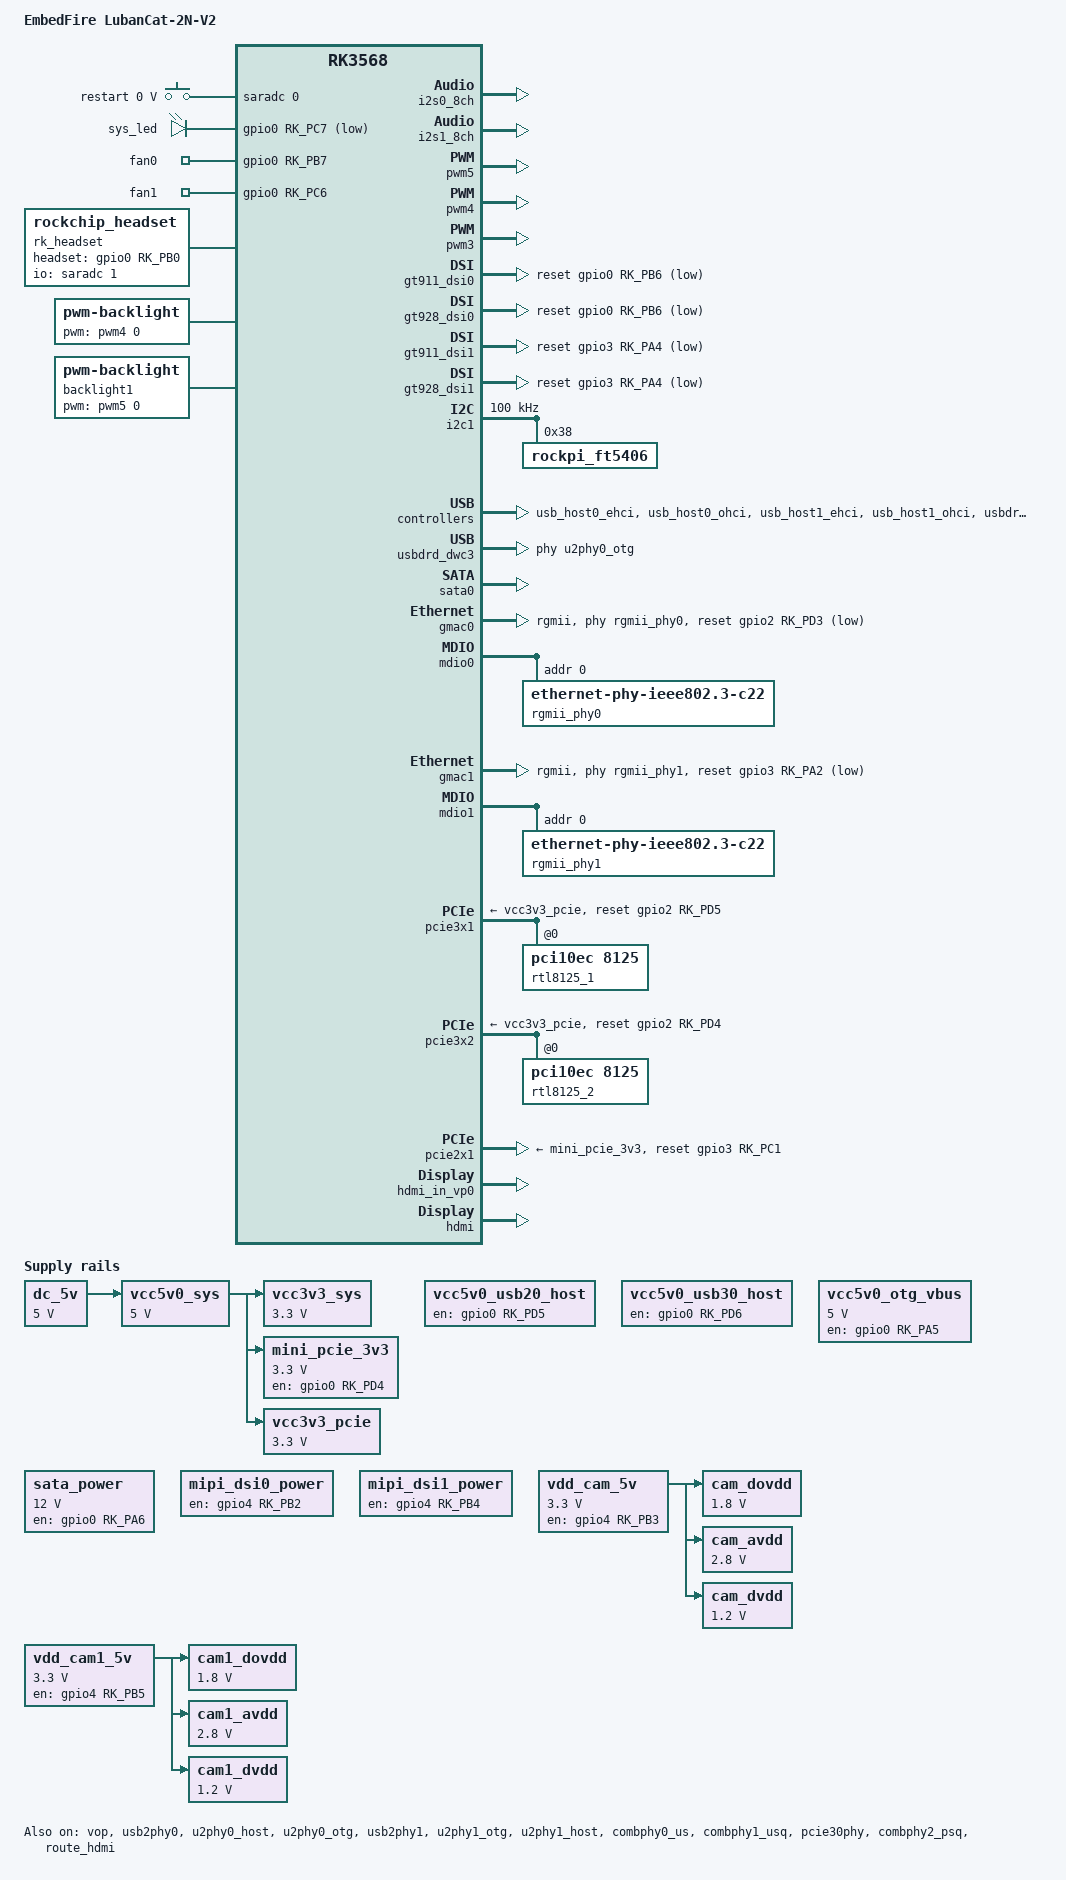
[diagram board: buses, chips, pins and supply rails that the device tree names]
// SPDX-License-Identifier: (GPL-2.0+ OR MIT)
/*
 * Copyright (c) 2020 Rockchip Electronics Co., Ltd.
 *
 */

 /dts-v1/;

#include <dt-bindings/gpio/gpio.h>
#include <dt-bindings/pwm/pwm.h>
#include <dt-bindings/pinctrl/rockchip.h>
#include <dt-bindings/input/rk-input.h>
#include <dt-bindings/display/drm_mipi_dsi.h>
#include <dt-bindings/display/rockchip_vop.h>
#include <dt-bindings/sensor-dev.h>
#include <dt-bindings/phy/jlsemi-dt-phy.h>
#include "rk3568.dtsi"
#include "rk3568-lubancat.dtsi"

#include "rk3568-lubancat-dsi.dtsi"

#include "rk3568-lubancat-csi2-double.dtsi"

/ {
	model = "EmbedFire LubanCat-2N-V2";
	compatible = "embedfire,lubancat-2n-v2", "rockchip,rk3568";

	aliases {
		ethernet0 = &gmac0;
		ethernet1 = &gmac1;
		ethernet2 = &rtl8125_2;
		ethernet3 = &rtl8125_1;
	};

	adc_keys: adc-keys {
		compatible = "adc-keys";
		io-channels = <&saradc 0>;
		io-channel-names = "buttons";
		keyup-threshold-microvolt = <1800000>;
		poll-interval = <100>;

		restart-key {
			label = "restart";
			linux,code = <KEY_RESTART>;
			press-threshold-microvolt = <9>;
		};
	};

	dc_5v: dc-5v {
		compatible = "regulator-fixed";
		regulator-name = "dc_5v";
		regulator-always-on;
		regulator-boot-on;
		regulator-min-microvolt = <5000000>;
		regulator-max-microvolt = <5000000>;
	};

	vcc5v0_sys: vcc5v0-sys {
		compatible = "regulator-fixed";
		regulator-name = "vcc5v0_sys";
		regulator-always-on;
		regulator-boot-on;
		regulator-min-microvolt = <5000000>;
		regulator-max-microvolt = <5000000>;
		vin-supply = <&dc_5v>;
	};

	vcc3v3_sys: vcc3v3-sys {
		compatible = "regulator-fixed";
		regulator-name = "vcc3v3_sys";
		regulator-always-on;
		regulator-boot-on;
		regulator-min-microvolt = <3300000>;
		regulator-max-microvolt = <3300000>;
		vin-supply = <&vcc5v0_sys>;
	};

	vcc5v0_usb20_host: vcc5v0-usb20-host-regulator {
		compatible = "regulator-fixed";
		enable-active-high;
		gpio = <&gpio0 RK_PD5 GPIO_ACTIVE_HIGH>;
		pinctrl-names = "default";
		pinctrl-0 = <&vcc5v0_usb20_host_en>;
		regulator-name = "vcc5v0_usb20_host";
		regulator-always-on;
	};

	vcc5v0_usb30_host: vcc5v0-usb30-host-regulator {
		compatible = "regulator-fixed";
		enable-active-high;
		gpio = <&gpio0 RK_PD6 GPIO_ACTIVE_HIGH>;
		pinctrl-names = "default";
		pinctrl-0 = <&vcc5v0_usb30_host_en>;
		regulator-name = "vcc5v0_usb30_host";
		regulator-always-on;
	};

	vcc5v0_otg_vbus: vcc5v0-otg-vbus-regulator {
		compatible = "regulator-fixed";
		enable-active-high;
		regulator-min-microvolt = <5000000>;
		regulator-max-microvolt = <5000000>;
		gpio = <&gpio0 RK_PA5 GPIO_ACTIVE_HIGH>;
		pinctrl-names = "default";
		pinctrl-0 = <&vcc5v0_otg_vbus_en>;
		regulator-name = "vcc5v0_otg_vbus";
	};

	mini_pcie_3v3: mini-pcie-3v3-regulator {
		compatible = "regulator-fixed";
		regulator-name = "minipcie_3v3";
		regulator-min-microvolt = <3300000>;
		regulator-max-microvolt = <3300000>;
		enable-active-high;
		regulator-always-on;
		gpio = <&gpio0 RK_PD4 GPIO_ACTIVE_HIGH>;
		startup-delay-us = <5000>;
		vin-supply = <&vcc5v0_sys>;
	};

	vcc3v3_pcie: gpio-regulator {
		compatible = "regulator-fixed";
		regulator-always-on;
		regulator-boot-on;
		regulator-min-microvolt = <3300000>;
		regulator-max-microvolt = <3300000>;
		regulator-name = "vcc3v3_pcie";
		vin-supply = <&vcc5v0_sys>;
	};

	sata_power: sata-power-regulator {
		compatible = "regulator-fixed";
		regulator-name = "sata_power";
		regulator-min-microvolt = <12000000>;
		regulator-max-microvolt = <12000000>;
		gpio = <&gpio0 RK_PA6 GPIO_ACTIVE_HIGH>;
		enable-active-high;
		regulator-boot-on;
		pinctrl-names = "default";
		pinctrl-0 = <&sata_pwr_en>;
	};

	mipi_dsi0_power: mipi-dsi0-power-regulator {
		compatible = "regulator-fixed";
		enable-active-high;
		gpio = <&gpio4 RK_PB2 GPIO_ACTIVE_HIGH>;
		pinctrl-names = "default";
		pinctrl-0 = <&mipi_dsi0_pwr_en>;
		regulator-name = "mipi_dsi0_power";
		regulator-always-on;
	};

	mipi_dsi1_power: mipi-dsi1-power-regulator {
		compatible = "regulator-fixed";
		enable-active-high;
		gpio = <&gpio4 RK_PB4 GPIO_ACTIVE_HIGH>;
		pinctrl-names = "default";
		pinctrl-0 = <&mipi_dsi1_pwr_en>;
		regulator-name = "mipi_dsi1_power";
		regulator-always-on;
	};

	vdd_cam_5v: vdd-cam-5v-regulator {
		compatible = "regulator-fixed";
		regulator-name = "vdd_cam_5v";
		regulator-min-microvolt = <3300000>;
		regulator-max-microvolt = <3300000>;
		gpio = <&gpio4 RK_PB3 GPIO_ACTIVE_HIGH>;
		pinctrl-names = "default";
		pinctrl-0 = <&cam_pwr_en>;
		enable-active-high;
		regulator-always-on;
	};

	cam_dovdd: cam-dovdd {
		compatible = "regulator-fixed";
		regulator-name = "cam_dovdd";
		regulator-always-on;
		regulator-boot-on;
		regulator-min-microvolt = <1800000>;
		regulator-max-microvolt = <1800000>;
		vin-supply = <&vdd_cam_5v>;
	};

	cam_avdd: cam-avdd {
		compatible = "regulator-fixed";
		regulator-name = "cam_avdd";
		regulator-always-on;
		regulator-boot-on;
		regulator-min-microvolt = <2800000>;
		regulator-max-microvolt = <2800000>;
		vin-supply = <&vdd_cam_5v>;
	};

	cam_dvdd: cam-dvdd {
		compatible = "regulator-fixed";
		regulator-name = "cam_dvdd";
		regulator-always-on;
		regulator-boot-on;
		regulator-min-microvolt = <1200000>;
		regulator-max-microvolt = <1200000>;
		vin-supply = <&vdd_cam_5v>;
	};

	vdd_cam1_5v: vdd-cam1-5v-regulator {
		compatible = "regulator-fixed";
		regulator-name = "vdd_cam1_5v";
		regulator-min-microvolt = <3300000>;
		regulator-max-microvolt = <3300000>;
		gpio = <&gpio4 RK_PB5 GPIO_ACTIVE_HIGH>;
		pinctrl-names = "default";
		pinctrl-0 = <&cam1_pwr_en>;
		enable-active-high;
		regulator-always-on;
	};

	cam1_dovdd: cam1-dovdd {
		compatible = "regulator-fixed";
		regulator-name = "cam1_dovdd";
		regulator-always-on;
		regulator-boot-on;
		regulator-min-microvolt = <1800000>;
		regulator-max-microvolt = <1800000>;
		vin-supply = <&vdd_cam1_5v>;
	};

	cam1_avdd: cam1-avdd {
		compatible = "regulator-fixed";
		regulator-name = "cam1_avdd";
		regulator-always-on;
		regulator-boot-on;
		regulator-min-microvolt = <2800000>;
		regulator-max-microvolt = <2800000>;
		vin-supply = <&vdd_cam1_5v>;
	};

	cam1_dvdd: cam1-dvdd {
		compatible = "regulator-fixed";
		regulator-name = "cam1_dvdd";
		regulator-always-on;
		regulator-boot-on;
		regulator-min-microvolt = <1200000>;
		regulator-max-microvolt = <1200000>;
		vin-supply = <&vdd_cam1_5v>;
	};

	leds: leds {
		status = "okay";
		compatible = "gpio-leds";

		sys_led: sys-led {
			label = "sys_led";
			linux,default-trigger = "heartbeat";
			default-state = "on";
			gpios = <&gpio0 RK_PC7 GPIO_ACTIVE_LOW>;
			pinctrl-names = "default";
			pinctrl-0 = <&sys_led_pin>;
		};

		fan0: fan0 {
			label = "fan0";
			default-state = "on";
			linux,default-trigger = "none";
			gpios = <&gpio0 RK_PB7 GPIO_ACTIVE_HIGH>;
			pinctrl-names = "default";
			pinctrl-0 = <&fan0_pin>;
		};

		fan1: fan1 {
			label = "fan1";
			default-state = "on";
			linux,default-trigger = "none";
			gpios = <&gpio0 RK_PC6 GPIO_ACTIVE_HIGH>;
			pinctrl-names = "default";
			pinctrl-0 = <&fan1_pin>;
		};

	};

	rk809_sound: rk809-sound {
		status = "okay";
		compatible = "simple-audio-card";
		simple-audio-card,format = "i2s";
		simple-audio-card,name = "rockchip,rk809-codec";
		simple-audio-card,mclk-fs = <256>;
		simple-audio-card,widgets =
			"Microphone", "Mic Jack",
			"Headphone", "Headphone Jack";
		simple-audio-card,routing =
			"Mic Jack", "MICBIAS1",
			"IN1P", "Mic Jack",
			"Headphone Jack", "HPOL",
			"Headphone Jack", "HPOR";
		simple-audio-card,cpu {
			sound-dai = <&i2s1_8ch>;
		};
		simple-audio-card,codec {
			sound-dai = <&rk809_codec>;
		};
	};

	rk_headset: rk-headset {
		status = "okay";
		compatible = "rockchip_headset";
		headset_gpio = <&gpio0 RK_PB0 GPIO_ACTIVE_HIGH>;
		pinctrl-names = "default";
		pinctrl-0 = <&hp_det>;
		io-channels = <&saradc 1>;
	};

	backlight: backlight {
		status = "okay";
		compatible = "pwm-backlight";
		pwms = <&pwm4 0 50000 0>;
		brightness-levels = <
			 95  95  95  95  95  95  95  95
			 95  95  95  95  95  95  95  95
			 95  95  95  95  95  95  95  95
			 95  95  95  95  95  95  95  95
			 95  95  95  95  95  95  95  95
			 95  95  95  95  95  95  95  95
			 95  95  95  95  95  95  95  95
			 95  95  95  95  95  95  95  95
			 95  95  95  95  95  95  95  95
			 95  95  95  95  95  95  95  95
			 95  95  95  95  95  95  95  95
			 88  89  90  91  92  93  94  95
			 96  97  98  99 100 101 102 103
			104 105 106 107 108 109 110 111
			112 113 114 115 116 117 118 119
			120 121 122 123 124 125 126 127
			128 129 130 131 132 133 134 135
			136 137 138 139 140 141 142 143
			144 145 146 147 148 149 150 151
			152 153 154 155 156 157 158 159
			160 161 162 163 164 165 166 167
			168 169 170 171 172 173 174 175
			176 177 178 179 180 181 182 183
			184 185 186 187 188 189 190 191
			192 193 194 195 196 197 198 199
			200 201 202 203 204 205 206 207
			208 209 210 211 212 213 214 215
			216 217 218 219 220 221 222 223
			224 225 226 227 228 229 230 231
			232 233 234 235 236 237 238 239
			240 241 242 243 244 245 246 247
			248 249 250 251 252 253 254 255
		>;
		default-brightness-level = <200>;
	};

	backlight1: backlight1 {
		status = "okay";
		compatible = "pwm-backlight";
		pwms = <&pwm5 0 50000 0>;
		brightness-levels = <
			 95  95  95  95  95  95  95  95
			 95  95  95  95  95  95  95  95
			 95  95  95  95  95  95  95  95
			 95  95  95  95  95  95  95  95
			 95  95  95  95  95  95  95  95
			 95  95  95  95  95  95  95  95
			 95  95  95  95  95  95  95  95
			 95  95  95  95  95  95  95  95
			 95  95  95  95  95  95  95  95
			 95  95  95  95  95  95  95  95
			 95  95  95  95  95  95  95  95
			 88  89  90  91  92  93  94  95
			 96  97  98  99 100 101 102 103
			104 105 106 107 108 109 110 111
			112 113 114 115 116 117 118 119
			120 121 122 123 124 125 126 127
			128 129 130 131 132 133 134 135
			136 137 138 139 140 141 142 143
			144 145 146 147 148 149 150 151
			152 153 154 155 156 157 158 159
			160 161 162 163 164 165 166 167
			168 169 170 171 172 173 174 175
			176 177 178 179 180 181 182 183
			184 185 186 187 188 189 190 191
			192 193 194 195 196 197 198 199
			200 201 202 203 204 205 206 207
			208 209 210 211 212 213 214 215
			216 217 218 219 220 221 222 223
			224 225 226 227 228 229 230 231
			232 233 234 235 236 237 238 239
			240 241 242 243 244 245 246 247
			248 249 250 251 252 253 254 255
		>;
		default-brightness-level = <200>;
	};

	hdmi_sound: hdmi-sound {
		compatible = "simple-audio-card";
		simple-audio-card,format = "i2s";
		simple-audio-card,mclk-fs = <128>;
		simple-audio-card,name = "rockchip,hdmi";
		status = "okay";

		simple-audio-card,cpu {
			sound-dai = <&i2s0_8ch>;
		};
		simple-audio-card,codec {
			sound-dai = <&hdmi>;
		};
	};
};

&i2s0_8ch {
	status = "okay";
};

&can1 {
	status = "disabled";
	compatible = "rockchip,rk3568-can-2.0";
	assigned-clocks = <&cru CLK_CAN1>;
	assigned-clock-rates = <200000000>;
	pinctrl-names = "default";
	pinctrl-0 = <&can1m1_pins>;
};

&can2 {
	status = "disabled";
	compatible = "rockchip,rk3568-can-2.0";
	pinctrl-names = "default";
	assigned-clocks = <&cru CLK_CAN2>;
	assigned-clock-rates = <200000000>;
	pinctrl-0 = <&can2m0_pins>;
};

&i2s1_8ch {
	status = "okay";
	rockchip,clk-trcm = <1>;
	/delete-property/ rockchip,playback-only;
	pinctrl-names = "default";
	pinctrl-0 = <&i2s1m0_sclktx
			 &i2s1m0_lrcktx
			 &i2s1m0_sdi0
			 &i2s1m0_sdo0>;
};

&pwm5 {
	status = "okay";
};

&pwm4 {
	status = "okay";
};

&pwm3 {
	status = "okay";

	compatible = "rockchip,remotectl-pwm";
	remote_pwm_id = <3>;
	handle_cpu_id = <1>;
	remote_support_psci = <0>;
	pinctrl-names = "default";
	pinctrl-0 = <&pwm3_pins>;

	ir_key_lubancat{
	rockchip,usercode = <0xff00>;
	rockchip,key_table =
		<0xeb   KEY_POWER>,
		<0xec   KEY_MENU>,
		<0xfe   KEY_BACK>,
		<0xb7   KEY_HOME>,
		<0xa3   KEY_WWW>,
		<0xf4   KEY_VOLUMEUP>,
		<0xa7   KEY_VOLUMEDOWN>,
		<0xf8   KEY_REPLY>,
		<0xfc   KEY_UP>,
		<0xfd   KEY_DOWN>,
		<0xf1   KEY_LEFT>,
		<0xe5   KEY_RIGHT>;
	};
};

&xin32k {
	status = "disabled";
};

// mipi dsi0 gpio set
&dsi0_panel {
	backlight = <&backlight>;
	reset-gpios = <&gpio0 RK_PC5 GPIO_ACTIVE_LOW>;
};

&gt911_dsi0 {
	interrupt-parent = <&gpio0>;
	interrupts = <RK_PB5 IRQ_TYPE_LEVEL_LOW>;
	reset-gpios = <&gpio0 RK_PB6 GPIO_ACTIVE_LOW>;
	irq-gpios = <&gpio0 RK_PB5 GPIO_ACTIVE_HIGH>;
};

&gt928_dsi0 {
	interrupt-parent = <&gpio0>;
	interrupts = <RK_PB5 IRQ_TYPE_LEVEL_LOW>;
	reset-gpios = <&gpio0 RK_PB6 GPIO_ACTIVE_LOW>;
	irq-gpios = <&gpio0 RK_PB5 GPIO_ACTIVE_HIGH>;
};

// mipi dsi1 gpio set
&dsi1_panel {
	backlight = <&backlight1>;
	reset-gpios = <&gpio3 RK_PC3 GPIO_ACTIVE_LOW>;
};

&gt911_dsi1 {
	interrupt-parent = <&gpio3>;
	interrupts = <RK_PA3 IRQ_TYPE_LEVEL_LOW>;
	reset-gpios = <&gpio3 RK_PA4 GPIO_ACTIVE_LOW>;
	irq-gpios = <&gpio3 RK_PA3 GPIO_ACTIVE_HIGH>;
};

&gt928_dsi1 {
	interrupt-parent = <&gpio3>;
	interrupts = <RK_PA3 IRQ_TYPE_LEVEL_LOW>;
	reset-gpios = <&gpio3 RK_PA4 GPIO_ACTIVE_LOW>;
	irq-gpios = <&gpio3 RK_PA3 GPIO_ACTIVE_HIGH>;
};


&i2c1 {
	status = "okay";
	clock-frequency = <100000>;

	rockpi_ft5406: rockpi_ft5406@38 {
		compatible = "rockpi_ft5406";
		reg = <0x38>;
		status = "okay";
	};
};

&pmu_io_domains {
	status = "okay";
	pmuio2-supply = <&vcc3v3_pmu>;
	vccio1-supply = <&vccio_acodec>;
	vccio3-supply = <&vccio_sd>;
	vccio4-supply = <&vcc_1v8>;
	vccio5-supply = <&vcc_3v3>;
	vccio6-supply = <&vcc_1v8>;
	vccio7-supply = <&vcc_3v3>;
};

&vop {
	status = "okay";
	assigned-clocks = <&cru DCLK_VOP0>, <&cru DCLK_VOP1>;
	assigned-clock-parents = <&pmucru PLL_HPLL>, <&cru PLL_VPLL>;
};

&vop_mmu {
	status = "okay";
};

&vp0 {
	rockchip,plane-mask = <(1 << ROCKCHIP_VOP2_CLUSTER0 | 1 << ROCKCHIP_VOP2_ESMART0 | 1 << ROCKCHIP_VOP2_SMART0)>;
	rockchip,primary-plane = <ROCKCHIP_VOP2_SMART0>;
	// cursor-win-id = <ROCKCHIP_VOP2_CLUSTER0>;
};

&vp1 {
	rockchip,plane-mask = <(1 << ROCKCHIP_VOP2_CLUSTER1 | 1 << ROCKCHIP_VOP2_ESMART1 | 1 << ROCKCHIP_VOP2_SMART1)>;
	rockchip,primary-plane = <ROCKCHIP_VOP2_SMART1>;
	// cursor-win-id = <ROCKCHIP_VOP2_CLUSTER1>;
};

/* USB OTG/USB Host_1 USB 2.0 Comb */
&usb2phy0 {
	status = "okay";
};

&u2phy0_host {
	phy-supply = <&vcc5v0_usb30_host>;
	status = "okay";
};

&u2phy0_otg {
	vbus-supply = <&vcc5v0_otg_vbus>;
	status = "okay";
};

&usb_host0_ehci {
	status = "okay";
};

&usb_host0_ohci {
	status = "okay";
};

/* USB Host_2/USB Host_3 USB 2.0 Comb */
&usb2phy1 {
	status = "okay";
};

&u2phy1_otg {
	phy-supply = <&vcc5v0_usb20_host>;
	status = "okay";
};

&u2phy1_host {
	status = "okay";
};

&usb_host1_ehci {
	status = "okay";
};

&usb_host1_ohci {
	status = "okay";
};

/* MULTI_PHY0 For SATA0, USB3.0 OTG Only USB2.0 */
&combphy0_us {
	status = "okay";
};

&usbdrd30 {
	status = "okay";
};

&usbdrd_dwc3 {
	phys = <&u2phy0_otg>;
	phy-names = "usb2-phy";
	extcon = <&usb2phy0>;
	maximum-speed = "high-speed";
	snps,dis_u2_susphy_quirk;
	snps,usb2-lpm-disable;
	status = "okay";
};

&sata0 {
	target-supply = <&sata_power>;
	status = "okay";
};

/* USB3.0 Host */
&combphy1_usq {
	status = "okay";
};

&usbhost30 {
	status = "okay";
};

&usbhost_dwc3 {
	status = "okay";
};

&gmac0 {
	phy-mode = "rgmii";
	clock_in_out = "output";

	snps,reset-gpio = <&gpio2 RK_PD3 GPIO_ACTIVE_LOW>;
	snps,reset-active-low;
	/* Reset time is 20ms, 100ms for rtl8211f */
	snps,reset-delays-us = <0 20000 100000>;

	assigned-clocks = <&cru SCLK_GMAC0_RX_TX>, <&cru SCLK_GMAC0>;
	assigned-clock-parents = <&cru SCLK_GMAC0_RGMII_SPEED>, <&cru CLK_MAC0_2TOP>;

	pinctrl-names = "default";
	pinctrl-0 = <&gmac0_miim
			 &gmac0_tx_bus2
			 &gmac0_rx_bus2
			 &gmac0_rgmii_clk
			 &gmac0_rgmii_bus>;

	tx_delay = <0x19>;
	rx_delay = <0x0c>;

	phy-handle = <&rgmii_phy0>;
	status = "okay";
};

&mdio0 {
	rgmii_phy0: phy@0 {
		compatible = "ethernet-phy-ieee802.3-c22";
		reg = <0x0>;
		jl2xxx,led-enable = <(JL2XXX_LED_STATIC_OP_EN | JL1XXX_LED_MODE_EN)>;
		jl2xxx,led-mode = <(JL2XXX_LED1_LINK10  | \
				 JL2XXX_LED1_LINK100  | \
				 JL2XXX_LED1_LINK1000 | \
				 JL2XXX_LED2_LINK10   | \
				 JL2XXX_LED2_LINK100  | \
				 JL2XXX_LED2_LINK1000 | \
				 JL2XXX_LED2_ACTIVITY )>;
	};
};

&gmac1 {
	phy-mode = "rgmii";
	clock_in_out = "output";

	snps,reset-gpio = <&gpio3 RK_PA2 GPIO_ACTIVE_LOW>;
	snps,reset-active-low;
	/* Reset time is 20ms, 100ms for rtl8211f */
	snps,reset-delays-us = <0 20000 100000>;

	assigned-clocks = <&cru SCLK_GMAC1_RX_TX>, <&cru SCLK_GMAC1>;
	assigned-clock-parents = <&cru SCLK_GMAC1_RGMII_SPEED>, <&cru CLK_MAC1_2TOP>;

	pinctrl-names = "default";
	pinctrl-0 = <&gmac1m1_miim
			 &gmac1m1_tx_bus2
			 &gmac1m1_rx_bus2
			 &gmac1m1_rgmii_clk
			 &gmac1m1_rgmii_bus>;

	/* RTL8211F  */
//	tx_delay = <0x1f>;
//	rx_delay = <0x0c>;

	/* JL2101 */
	tx_delay = <0x1f>;
	rx_delay = <0x05>;

	phy-handle = <&rgmii_phy1>;
	status = "okay";
};

&mdio1 {
	rgmii_phy1: phy@0 {
		compatible = "ethernet-phy-ieee802.3-c22";
		reg = <0x0>;
		jl2xxx,led-enable = <(JL2XXX_LED_STATIC_OP_EN | JL1XXX_LED_MODE_EN)>;
		jl2xxx,led-mode = <(JL2XXX_LED1_LINK10  | \
				 JL2XXX_LED1_LINK100  | \
				 JL2XXX_LED1_LINK1000 | \
				 JL2XXX_LED2_LINK10   | \
				 JL2XXX_LED2_LINK100  | \
				 JL2XXX_LED2_LINK1000 | \
				 JL2XXX_LED2_ACTIVITY )>;
	};
};

&pcie30phy {
	status = "okay";
};

&pcie3x1 {
	rockchip,bifurcation;
	reset-gpios = <&gpio2 RK_PD5 GPIO_ACTIVE_HIGH>;
	vpcie3v3-supply = <&vcc3v3_pcie>;
	status = "okay";

	pcie@10 {
		reg = <0x00100000 0 0 0 0>;
		#address-cells = <3>;
		#size-cells = <2>;

		rtl8125_1: pcie-eth@10,0 {
			compatible = "pci10ec,8125";
			reg = <0x000000 0 0 0 0>;

			realtek,led-ledsel2 = <0x022b>;
			realtek,led-ledsel3 = <0x002b>;
		};
	};
};

&pcie3x2 {
	rockchip,bifurcation;
	reset-gpios = <&gpio2 RK_PD4 GPIO_ACTIVE_HIGH>;
	vpcie3v3-supply = <&vcc3v3_pcie>;
	status = "okay";

	pcie@20 {
		reg = <0x00200000 0 0 0 0>;
		#address-cells = <3>;
		#size-cells = <2>;

		rtl8125_2: pcie-eth@20,0 {
			compatible = "pci10ec,8125";
			reg = <0x000000 0 0 0 0>;

			realtek,led-ledsel2 = <0x022b>;
			realtek,led-ledsel3 = <0x002b>;
		};
	};
};

/* mini pcie */
&pcie2x1 {
	reset-gpios = <&gpio3 RK_PC1 GPIO_ACTIVE_HIGH>;
	disable-gpios = <&gpio3 RK_PC2 GPIO_ACTIVE_HIGH>;
	vpcie3v3-supply = <&mini_pcie_3v3>;
	status = "okay";
};

&combphy2_psq {
	status = "okay";
};

&route_hdmi {
	status = "okay";
	connect = <&vp0_out_hdmi>;
};

&hdmi_in_vp0 {
	status = "okay";
};

&hdmi_in_vp1 {
	status = "disabled";
};

&hdmi {
	status = "okay";
};

//cam0-gpio-setting
&ov5647 {
	pwdn-gpios = <&gpio0 RK_PC0 GPIO_ACTIVE_LOW>;
};

&ov5648 {
	pwdn-gpios = <&gpio0 RK_PC0 GPIO_ACTIVE_HIGH>;
	reset-gpios = <&gpio0 RK_PC1 GPIO_ACTIVE_LOW>;
};

&ov8858 {
	pwdn-gpios = <&gpio0 RK_PC0 GPIO_ACTIVE_HIGH>;
	reset-gpios = <&gpio0 RK_PC1 GPIO_ACTIVE_HIGH>;
};

&sc132gs {
	pwdn-gpios = <&gpio0 RK_PC0 GPIO_ACTIVE_HIGH>;
	reset-gpios = <&gpio0 RK_PC1 GPIO_ACTIVE_HIGH>;
};

//cam1-gpio-setting
&cam1_ov5647 {
	pwdn-gpios = <&gpio0 RK_PA0 GPIO_ACTIVE_LOW>;
};

&cam1_ov5648 {
	pwdn-gpios = <&gpio0 RK_PA0 GPIO_ACTIVE_HIGH>;
	reset-gpios = <&gpio1 RK_PA4 GPIO_ACTIVE_LOW>;
};

&cam1_ov8858 {
	pwdn-gpios = <&gpio0 RK_PA0 GPIO_ACTIVE_HIGH>;
	reset-gpios = <&gpio1 RK_PA4 GPIO_ACTIVE_HIGH>;
};

&cam1_sc132gs {
	pwdn-gpios = <&gpio0 RK_PA0 GPIO_ACTIVE_HIGH>;
	reset-gpios = <&gpio1 RK_PA4 GPIO_ACTIVE_HIGH>;
};

&pinctrl {
	headphone {
		hp_det: hp-det {
			rockchip,pins = <0 RK_PB0 RK_FUNC_GPIO &pcfg_pull_none>;
		};
	};

	usb {
		vcc5v0_usb20_host_en: vcc5v0-usb20-host-en {
			rockchip,pins = <0 RK_PD5 RK_FUNC_GPIO &pcfg_pull_none>;
		};

		vcc5v0_usb30_host_en: vcc5v0-usb30-host-en {
			rockchip,pins = <0 RK_PD6 RK_FUNC_GPIO &pcfg_pull_none>;
		};

		vcc5v0_otg_vbus_en: vcc5v0-otg-vbus-en {
			rockchip,pins = <0 RK_PA5 RK_FUNC_GPIO &pcfg_pull_none>;
		};
	};

	sata {
		sata_pwr_en: sata-pwr-en {
			rockchip,pins = <0 RK_PA6 RK_FUNC_GPIO &pcfg_pull_none>;
		};
	};

	spi {
		spi3_cs0: spi3-cs0 {
			rockchip,pins = <4 RK_PC6 RK_FUNC_GPIO &pcfg_pull_up_drv_level_1>;
		};

		spi3_cs1: spi3-cs1 {
			rockchip,pins = <4 RK_PC4 RK_FUNC_GPIO &pcfg_pull_up_drv_level_1>;
		};
	};

	lcd {
		mipi_dsi0_pwr_en: mipi-dsi0-pwr-en {
			rockchip,pins = <4 RK_PB2 RK_FUNC_GPIO &pcfg_pull_none>;
		};
		mipi_dsi1_pwr_en: mipi-dsi1-pwr-en {
			rockchip,pins = <4 RK_PB4 RK_FUNC_GPIO &pcfg_pull_none>;
		};
	};

	cam {
		cam_pwr_en: cam-pwr-en {
			rockchip,pins = <4 RK_PB3 RK_FUNC_GPIO &pcfg_pull_none>;
		};
		cam1_pwr_en: cam1_pwr_en {
			rockchip,pins = <4 RK_PB5 RK_FUNC_GPIO &pcfg_pull_none>;
		};
	};

	leds {
		sys_led_pin: sys-led-pin {
			rockchip,pins = <0 RK_PC7 RK_FUNC_GPIO &pcfg_pull_none>;
		};

		fan0_pin: fan0-pin {
			rockchip,pins = <0 RK_PB7 RK_FUNC_GPIO &pcfg_pull_none>;
		};

		fan1_pin: fan1-pin {
			rockchip,pins = <0 RK_PC6 RK_FUNC_GPIO &pcfg_pull_none>;
		};
	};
};
